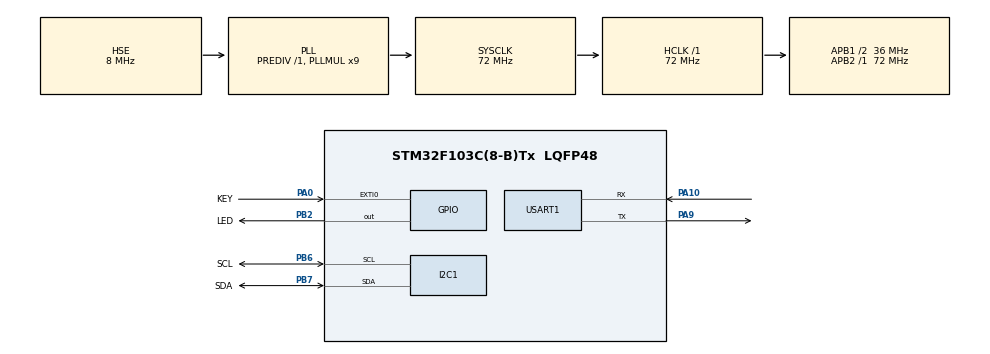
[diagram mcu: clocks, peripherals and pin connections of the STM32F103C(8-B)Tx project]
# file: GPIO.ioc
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I2C1.I2C_Mode=I2C_Fast
Mcu.Family=STM32F1
Mcu.Name=STM32F103C(8-B)Tx
Mcu.Package=LQFP48
NVIC.PriorityGroup=NVIC_PRIORITYGROUP_4
PA0-WKUP.GPIO_Label=KEY
PA0-WKUP.GPIO_ModeDefaultEXTI=GPIO_MODE_IT_RISING_FALLING
PA0-WKUP.Signal=GPXTI0
PA10.Mode=Asynchronous
PA10.Signal=USART1_RX
PA13.Mode=Serial_Wire
PA13.Signal=SYS_JTMS-SWDIO
PA14.Mode=Serial_Wire
PA14.Signal=SYS_JTCK-SWCLK
PA9.Mode=Asynchronous
PA9.Signal=USART1_TX
PB2.GPIO_Label=LED
PB2.PinState=GPIO_PIN_RESET
PB2.Signal=GPIO_Output
PB6.GPIO_Label=SCL
PB6.Mode=I2C
PB6.Signal=I2C1_SCL
PB7.GPIO_Label=SDA
PB7.Mode=I2C
PB7.Signal=I2C1_SDA
PC14-OSC32_IN.Mode=LSE-External-Oscillator
PC14-OSC32_IN.Signal=RCC_OSC32_IN
PC15-OSC32_OUT.Mode=LSE-External-Oscillator
PC15-OSC32_OUT.Signal=RCC_OSC32_OUT
PD0-OSC_IN.Mode=HSE-External-Oscillator
PD0-OSC_IN.Signal=RCC_OSC_IN
PD1-OSC_OUT.Mode=HSE-External-Oscillator
PD1-OSC_OUT.Signal=RCC_OSC_OUT
ProjectManager.HeapSize=0x200
ProjectManager.StackSize=0x400
ProjectManager.TargetToolchain=MDK-ARM V5.32
RCC.AHBFreq_Value=72000000
RCC.APB1CLKDivider=RCC_HCLK_DIV2
RCC.APB1Freq_Value=36000000
RCC.APB1TimFreq_Value=72000000
RCC.APB2Freq_Value=72000000
RCC.APB2TimFreq_Value=72000000
RCC.HCLKFreq_Value=72000000
RCC.PLLMUL=RCC_PLL_MUL9
RCC.PLLSourceVirtual=RCC_PLLSOURCE_HSE
RCC.SYSCLKFreq_VALUE=72000000
RCC.SYSCLKSource=RCC_SYSCLKSOURCE_PLLCLK
RCC.USBFreq_Value=72000000
USART1.VirtualMode=VM_ASYNC
board=custom

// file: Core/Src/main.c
/* USER CODE BEGIN Header */
/**
  ******************************************************************************
  * @file           : main.c
  * @brief          : Main program body
  ******************************************************************************
  * @attention
  *
  * <h2><center>&copy; Copyright (c) 2020 STMicroelectronics.
  * All rights reserved.</center></h2>
  *
  * This software component is licensed by ST under BSD 3-Clause license,
  * the "License"; You may not use this file except in compliance with the
  * License. You may obtain a copy of the License at:
  *                        opensource.org/licenses/BSD-3-Clause
  *
  ******************************************************************************
  */
/* USER CODE END Header */
#include "main.h"
#include "i2c.h"
#include "usart.h"
#include "gpio.h"

/* USER CODE BEGIN Includes */
#include "stdio.h"
#include "mpu6050.h"
#include "oled.h"
#include "stdlib.h"
#include "math.h"
#include "bmp280.h"

/* USER CODE END Includes */

/* USER CODE BEGIN PV */
int Flag_LED = 1;

//MPU6050
float pitch =0.0,roll=0.0,yaw=0.0;
short x,y,z;
double speed = 0.0;
char speedToShow[6];
char tempToShow[5];
//float tempMPU = 0.0;
int32_t T = 0;
uint64_t P = 0;

/* USER CODE END PV */

void SystemClock_Config(void);

/* USER CODE BEGIN 0 */
 /*
  *power by WeAct Studio
  *The board with `WeAct` Logo && `version number` is our board, quality guarantee.
  *For more information please visit: https://github.com/WeActTC/BluePill-Plus.git
  *更多信息请访问：https://gitee.com/WeAct-TC/BluePill-Plus
  */
/* USER CODE END 0 */

int main(void)
{

  /* MCU Configuration--------------------------------------------------------*/

  /* Reset of all peripherals, Initializes the Flash interface and the Systick. */
  HAL_Init();

  /* Configure the system clock */
  SystemClock_Config();

  /* Initialize all configured peripherals */
  MX_GPIO_Init();
  MX_USART1_UART_Init();
  MX_I2C1_Init();
  /* USER CODE BEGIN 2 */
	//OLED初始化
	printf("OLED begin to work!\r\n");
	OLED_Init();
	OLED_Clear();

	OLED_ShowString(40,2,(uint8_t*)"System",16);
	OLED_ShowString(8,4,(uint8_t*)"Initialization",16);
	//MPU6050初始化
	printf("MPU6050 begin to work!\r\n");
	while(mpu_dmp_init())
	{

		HAL_Delay(200);

	}
	printf("MPU-6050 Init Successfully\r\n");//

	float tempMPU = MPU_Get_Temperature();
	printf("temp : %f\r\n",tempMPU / 100 );

	if(!MPU_Get_Gyroscope(&x, &y,&z))
	{
		printf("initial num is x : %d   y:%d    z%d\r\n",x,y,z);
	}

	//BMP280初始化
//	bmp280_init();
	BMP280_InitALL();

	OLED_Clear();
	OLED_ShowString(0,0,(uint8_t*)"Speed:",16);
	OLED_ShowString(0,2,(uint8_t*)"Temp:",16);
	OLED_ShowString(0,4,(uint8_t*)"AtomPre:",16);
//	OLED_ShowString(0,2,(uint8_t*)"Y:",16);
//	OLED_ShowString(0,4,(uint8_t*)"Z:",16);
  /* USER CODE END 2 */

  /* Infinite loop */
  while (1)
  {

    /* USER CODE BEGIN 3 */
		if(Flag_LED)
		{
			HAL_GPIO_TogglePin(LED_GPIO_Port,LED_Pin);
			HAL_Delay(500);
		}

//		tempMPU = MPU_Get_Temperature();
//		printf("temp : %f\r\n",tempMPU / 100 );
//		if(!MPU_Get_Accelerometer(&x, &y,&z))//角加速度
//		{
//			printf("x : %f   y:%f    z%f\r\n",x/16384.0,y/16384.0,z/16384.0);
//		}

		if(!MPU_Get_Gyroscope(&x, &y,&z))//陀螺仪
		{
//			if((abs(x)<5)&(abs(y)<5)&(abs(z)<5)){x=0;y=0;z=0;}
//			printf("initial num is x : %d   y:%d    z%d\r\n",x,y,z);
//			printf("initial num is x : %d   y:%d    z%d\r\n",x,y,z);
			speed = pow(x*x+y*y+z*z,1.0/3);
			printf("speed=%f\r\n",speed);
//			sprintf(speedToShow,"%.1f",speed);
//			OLED_ShowString(16,6,speedToShow,16);
			OLED_ShowNum(48,0,speed/10,4,16);

		}

		T = BMP280_GetTemperature();
		P = BMP280_GetPressure();

//		BMP280_calc_values();
//		HAL_Delay(300);
		sprintf(tempToShow,"%.2f",T/100.0);
//		printf("P=%llu\r\n",P/256);
		OLED_ShowString(40,2,(uint8_t*)tempToShow,16);
//		OLED_ShowNum(40,2,speed/10,4,16);
		OLED_ShowNum(64,4,P/256,6,16);

//		OLED_ShowAngle();

  }
  /* USER CODE END 3 */
}

void SystemClock_Config(void)
{
  RCC_OscInitTypeDef RCC_OscInitStruct = {0};
  RCC_ClkInitTypeDef RCC_ClkInitStruct = {0};

  /** Initializes the RCC Oscillators according to the specified parameters
  * in the RCC_OscInitTypeDef structure.
  */
  RCC_OscInitStruct.OscillatorType = RCC_OSCILLATORTYPE_HSE;
  RCC_OscInitStruct.HSEState = RCC_HSE_ON;
  RCC_OscInitStruct.HSEPredivValue = RCC_HSE_PREDIV_DIV1;
  RCC_OscInitStruct.HSIState = RCC_HSI_ON;
  RCC_OscInitStruct.PLL.PLLState = RCC_PLL_ON;
  RCC_OscInitStruct.PLL.PLLSource = RCC_PLLSOURCE_HSE;
  RCC_OscInitStruct.PLL.PLLMUL = RCC_PLL_MUL9;
  if (HAL_RCC_OscConfig(&RCC_OscInitStruct) != HAL_OK)
  {
    Error_Handler();
  }

  /** Initializes the CPU, AHB and APB buses clocks
  */
  RCC_ClkInitStruct.ClockType = RCC_CLOCKTYPE_HCLK|RCC_CLOCKTYPE_SYSCLK
                              |RCC_CLOCKTYPE_PCLK1|RCC_CLOCKTYPE_PCLK2;
  RCC_ClkInitStruct.SYSCLKSource = RCC_SYSCLKSOURCE_PLLCLK;
  RCC_ClkInitStruct.AHBCLKDivider = RCC_SYSCLK_DIV1;
  RCC_ClkInitStruct.APB1CLKDivider = RCC_HCLK_DIV2;
  RCC_ClkInitStruct.APB2CLKDivider = RCC_HCLK_DIV1;

  if (HAL_RCC_ClockConfig(&RCC_ClkInitStruct, FLASH_LATENCY_2) != HAL_OK)
  {
    Error_Handler();
  }
}

void Error_Handler(void)
{
}
